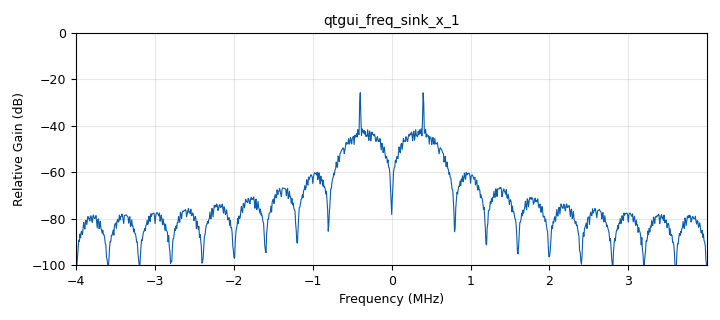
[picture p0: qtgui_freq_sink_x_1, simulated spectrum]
options:
  parameters:
    generate_options: qt_gui
    id: Lab6
    output_language: python
    title: Not titled yet
  states: {}

blocks:
- name: samp_rate
  id: variable
  parameters:
    value: 8e6
  states: {}
- name: analog_cpfsk_bc_0
  id: analog_cpfsk_bc
  parameters:
    amplitude: '.2'
    k: '2'
    samples_per_symbol: '20'
  states: {}
- name: analog_random_source_x_0
  id: analog_random_source_x
  parameters:
    max: '2'
    min: '0'
    num_samps: '1024'
    repeat: 'True'
    type: byte
  states: {}
- name: qtgui_freq_sink_x_1
  id: qtgui_freq_sink_x
  parameters:
    average: '0.05'
    bw: samp_rate
    fc: '0'
    fftsize: '1024'
    type: complex
    wintype: window.WIN_HAMMING
    ymax: '0'
    ymin: '-100'
  states: {}

connections:
- [analog_cpfsk_bc_0, '0', qtgui_freq_sink_x_1, '0']
- [analog_random_source_x_0, '0', analog_cpfsk_bc_0, '0']

metadata:
  file_format: 1
  grc_version: 3.10.9.2
